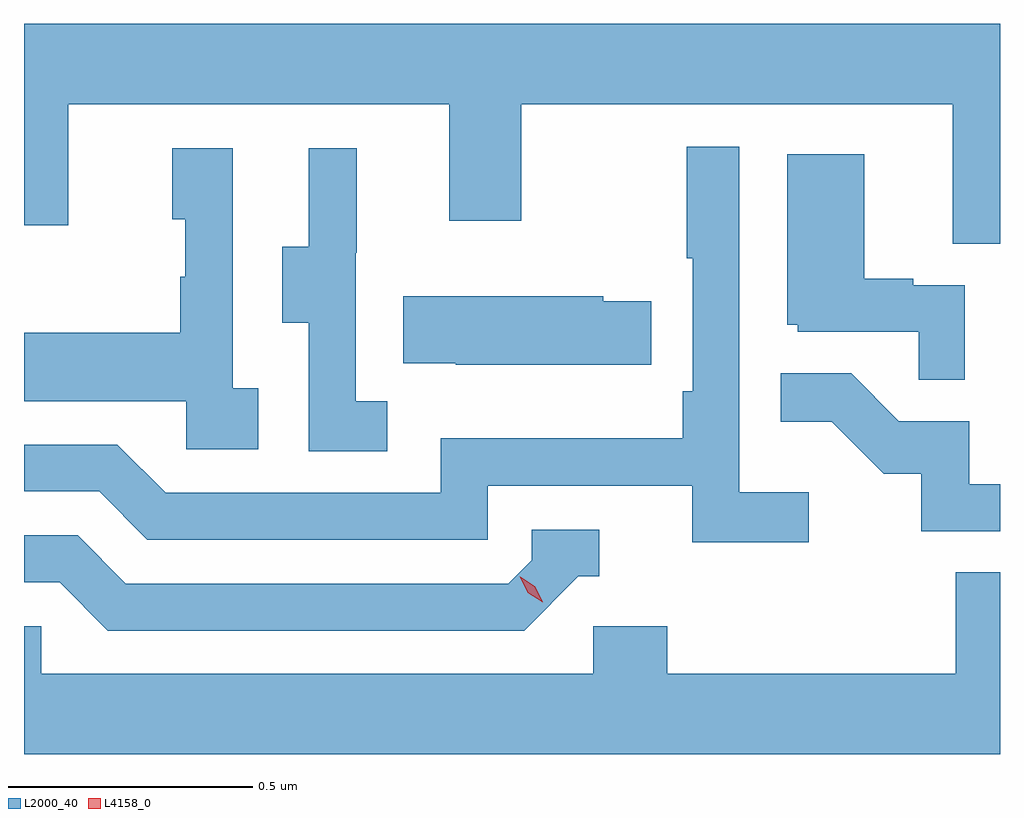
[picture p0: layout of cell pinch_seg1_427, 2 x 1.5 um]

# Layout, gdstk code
import gdstk
lib = gdstk.Library(unit=1e-6, precision=1e-09)
def P(c, l, *ps):  # polygons
    for p in ps: c.add(gdstk.Polygon(p, *l))
L2000_40 = (2000, 40)
L4158_0 = (4158, 0)

pinch_seg1_427 = lib.new_cell('pinch_seg1_427')
P(pinch_seg1_427, L2000_40, [(915.252,539.908),(913.252,539.908),(913.252,539.496),(913.343,539.496),(913.343,539.744),(914.123,539.744),(914.123,539.505),(914.271,539.505),(914.271,539.744),(915.155,539.744),(915.155,539.458),(915.252,539.458)],
  [(914.86,538.948),(914.718,538.948),(914.718,539.656),(914.61,539.656),(914.61,539.428),(914.622,539.428),(914.622,539.155),(914.602,539.155),(914.602,539.059),(914.106,539.059),(914.106,538.947),(913.542,538.947),(913.443,539.046),(913.252,539.046),(913.252,538.95),(913.406,538.95),(913.505,538.851),(914.202,538.851),(914.202,538.962),(914.621,538.962),(914.621,538.846),(914.86,538.846)],
  [(913.996,539.135),(913.932,539.135),(913.932,539.439),(913.934,539.439),(913.934,539.653),(913.835,539.653),(913.835,539.451),(913.781,539.451),(913.781,539.296),(913.836,539.296),(913.836,539.032),(913.996,539.032)],
  [(913.732,539.162),(913.68,539.162),(913.68,539.653),(913.556,539.653),(913.556,539.508),(913.582,539.508),(913.582,539.39),(913.572,539.39),(913.572,539.275),(913.252,539.275),(913.252,539.135),(913.584,539.135),(913.584,539.037),(913.732,539.037)],
  [(915.18,539.373),(915.074,539.373),(915.074,539.386),(914.974,539.386),(914.974,539.641),(914.816,539.641),(914.816,539.292),(914.838,539.292),(914.838,539.277),(915.085,539.277),(915.085,539.179),(915.18,539.179)],
  [(914.537,539.34),(914.439,539.34),(914.439,539.35),(914.029,539.35),(914.029,539.213),(914.137,539.213),(914.137,539.21),(914.537,539.21)],
  [(915.252,538.965),(915.189,538.965),(915.189,539.094),(915.045,539.094),(914.947,539.192),(914.803,539.192),(914.803,539.093),(914.907,539.093),(915.014,538.986),(915.091,538.986),(915.091,538.869),(915.252,538.869)],
  [(914.388,538.776),(914.431,538.776),(914.431,538.872),(914.292,538.872),(914.292,538.809),(914.244,538.761),(913.461,538.761),(913.362,538.86),(913.252,538.86),(913.252,538.764),(913.325,538.764),(913.424,538.665),(914.277,538.665)],
  [(915.252,538.784),(915.161,538.784),(915.161,538.576),(914.57,538.576),(914.57,538.674),(914.418,538.674),(914.418,538.576),(913.287,538.576),(913.287,538.674),(913.252,538.674),(913.252,538.412),(915.252,538.412)])
P(pinch_seg1_427, L4158_0, [(914.315,538.723),(914.284,538.742),(914.268,538.775),(914.268,538.775),(914.269,538.775),(914.299,538.756),(914.315,538.724),(914.315,538.723)])

lib.write_gds('pinch_seg1_427.gds')
